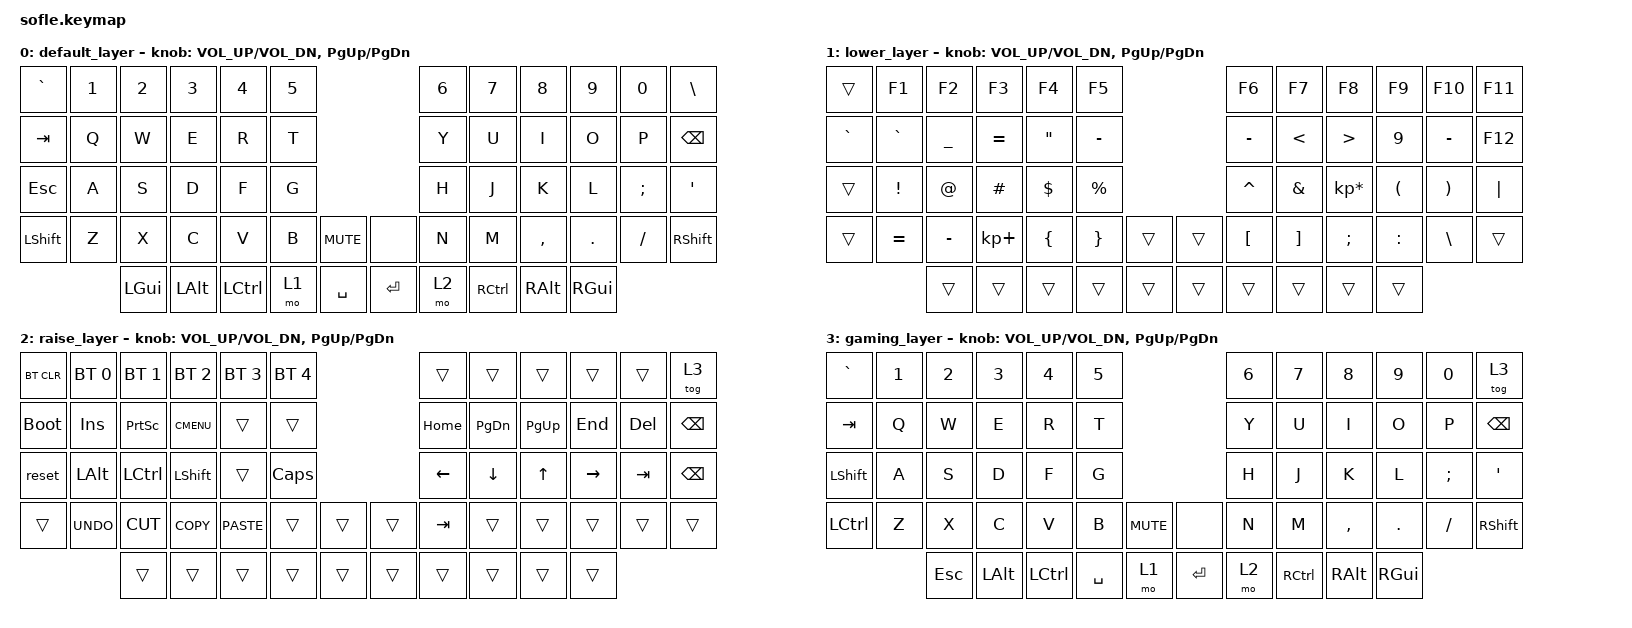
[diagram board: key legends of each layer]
/*
 * Copyright (c) 2020 The ZMK Contributors
 *
 * SPDX-License-Identifier: MIT
 */

#include <behaviors.dtsi>
#include <dt-bindings/zmk/keys.h>
#include <dt-bindings/zmk/bt.h>

/ {
    keymap {
        compatible = "zmk,keymap";

        default_layer {
// ------------------------------------------------------------------------------------------------------------
// |  `    |  1  |  2  |  3   |  4   |  5   |                   |  6   |  7    |  8    |  9   |   0   |   \   |
// |  TAB  |  Q  |  W  |  E   |  R   |  T   |                   |  Y   |  U    |  I    |  O   |   P   | BKSPC |
// |  ESC  |  A  |  S  |  D   |  F   |  G   |                   |  H   |  J    |  K    |  L   |   ;   |   '   |
// | SHIFT |  Z  |  X  |  C   |  V   |  B   |  MUTE  |  |       |  N   |  M    |  ,    |  .   |   /   | SHIFT |
//               | GUI | ALT  | CTRL | LOWER|  SPACE |  | ENTER | RAISE| CTRL  | ALT   | GUI  |
            bindings = <
&kp GRAVE &kp N1 &kp N2   &kp N3   &kp N4    &kp N5                      &kp N6 &kp N7    &kp N8    &kp N9   &kp N0   &kp BSLH
&kp TAB   &kp Q  &kp W    &kp E    &kp R     &kp T                       &kp Y  &kp U     &kp I     &kp O    &kp P    &kp BSPC
&kp ESC   &kp A  &kp S    &kp D    &kp F     &kp G                       &kp H  &kp J     &kp K     &kp L    &kp SEMI &kp SQT
&kp LSHFT &kp Z  &kp X    &kp C    &kp V     &kp B  &kp C_MUTE &none     &kp N  &kp M     &kp COMMA &kp DOT  &kp FSLH &kp RSHFT
                 &kp LGUI &kp LALT &kp LCTRL &mo 1  &kp SPACE    &kp RET &mo 2  &kp RCTRL &kp RALT  &kp RGUI
            >;

            sensor-bindings = <&inc_dec_kp C_VOL_UP C_VOL_DN &inc_dec_kp PG_UP PG_DN>;
        };

        lower_layer {
// TODO: Some binds are waiting for shifted keycode support.
// ------------------------------------------------------------------------------------------------------------
// |       |  F1 |  F2 |  F3  |  F4  |  F5  |                   |  F6  |  F7   |  F8   |  F9  |  F10  |  F11  |
// | `     |  `  |   _ |   =  |   "  |   -  |                   |  -   |  <    |  >    |   9  |   -   |  F12  |
// |       |  !  |  @  |  #   |  $   |  %   |                   |  ^   |  &    |  *    |  (   |   )   |   |   |
// |       |  =  |  -  |  +   |  {   |  }   |        |  |       |  [   |  ]    |  ;    |  :   |   \   |       |
//               |     |      |      |      |        |  |       |      |       |       |      |
            bindings = <
&trans    &kp F1    &kp F2    &kp F3      &kp F4    &kp F5                    &kp F6    &kp F7   &kp F8          &kp F9    &kp F10   &kp F11
&kp GRAVE &kp GRAVE &kp UNDER &kp EQUAL   &kp DQT   &kp MINUS                 &kp MINUS &kp LT   &kp GT          &kp N9    &kp MINUS &kp F12
&trans    &kp EXCL  &kp AT    &kp HASH    &kp DLLR  &kp PRCNT                 &kp CARET &kp AMPS &kp KP_MULTIPLY &kp LPAR  &kp RPAR  &kp PIPE
&trans    &kp EQUAL &kp MINUS &kp KP_PLUS &kp LBRC  &kp RBRC  &trans   &trans &kp LBKT  &kp RBKT &kp SEMI        &kp COLON &kp BSLH  &trans
                    &trans    &trans      &trans    &trans    &trans   &trans &trans    &trans   &trans          &trans
            >;

            sensor-bindings = <&inc_dec_kp C_VOL_UP C_VOL_DN &inc_dec_kp PG_UP PG_DN>;
        };

        raise_layer {
// ------------------------------------------------------------------------------------------------------------
// |BTCLR| BT1  | BT2  |  BT3  |  BT4  |  BT5 |                |      |      |       |      |       | GAME  |
// |BLOAD| INS  | PSCR | GUI   |       |      |                | HOME | PGDN | PGUP  | END  |  DEL  | BKSPC |
// |RESET| ALT  | CTRL | SHIFT |       | CAPS |                |  <-  |   v  |   ^   |  ->  |  TAB  | BKSPC |
// |     | UNDO | CUT  | COPY  | PASTE |      |      |  |      | TAB  |      |       |      |       |       |
//              |      |       |       |      |      |  |      |      |      |       |      |
            bindings = <
&bt BT_CLR &bt BT_SEL 0 &bt BT_SEL 1 &bt BT_SEL 2 &bt BT_SEL 3 &bt BT_SEL 4             &trans    &trans    &trans    &trans    &trans  &tog 3
&bootloader     &kp INS      &kp PSCRN    &kp K_CMENU  &trans       &trans              &kp HOME  &kp PG_DN &kp PG_UP &kp END   &kp DEL &kp BSPC
&reset     &kp LALT     &kp LCTRL    &kp LSHFT    &trans       &kp CLCK                 &kp LEFT  &kp DOWN  &kp UP    &kp RIGHT &kp TAB &kp BSPC
&trans     &kp K_UNDO   &kp K_CUT    &kp K_COPY   &kp K_PASTE  &trans  &trans   &trans  &kp TAB   &trans    &trans    &trans    &trans  &trans
                        &trans       &trans       &trans       &trans  &trans   &trans  &trans    &trans    &trans    &trans
            >;

            sensor-bindings = <&inc_dec_kp C_VOL_UP C_VOL_DN &inc_dec_kp PG_UP PG_DN>;
        };

        gaming_layer {
// ------------------------------------------------------------------------------------------------------------
// |  `    |  1  |  2  |  3   |  4   |  5   |                   |  6   |  7    |  8    |  9   |   0   | GAME  |
// |  TAB  |  Q  |  W  |  E   |  R   |  T   |                   |  Y   |  U    |  I    |  O   |   P   | BKSPC |
// | SHIFT |  A  |  S  |  D   |  F   |  G   |                   |  H   |  J    |  K    |  L   |   ;   |   '   |
// |  CTRL |  Z  |  X  |  C   |  V   |  B   |  MUTE  |  |       |  N   |  M    |  ,    |  .   |   /   | SHIFT |
//               | ESC | ALT  | CTRL | SPACE|  LOWER |  | ENTER | RAISE| CTRL  | ALT   | GUI  |
            bindings = <
&kp GRAVE &kp N1 &kp N2   &kp N3   &kp N4    &kp N5                      &kp N6 &kp N7    &kp N8    &kp N9   &kp N0   &tog 3
&kp TAB   &kp Q  &kp W    &kp E    &kp R     &kp T                       &kp Y  &kp U     &kp I     &kp O    &kp P    &kp BSPC
&kp LSHFT &kp A  &kp S    &kp D    &kp F     &kp G                       &kp H  &kp J     &kp K     &kp L    &kp SEMI &kp SQT
&kp LCTRL &kp Z  &kp X    &kp C    &kp V     &kp B  &kp C_MUTE &none     &kp N  &kp M     &kp COMMA &kp DOT  &kp FSLH &kp RSHFT
                 &kp ESC  &kp LALT &kp LCTRL &kp SPACE  &mo 1    &kp RET &mo 2  &kp RCTRL &kp RALT  &kp RGUI
            >;

            sensor-bindings = <&inc_dec_kp C_VOL_UP C_VOL_DN &inc_dec_kp PG_UP PG_DN>;
        };
    };
};
